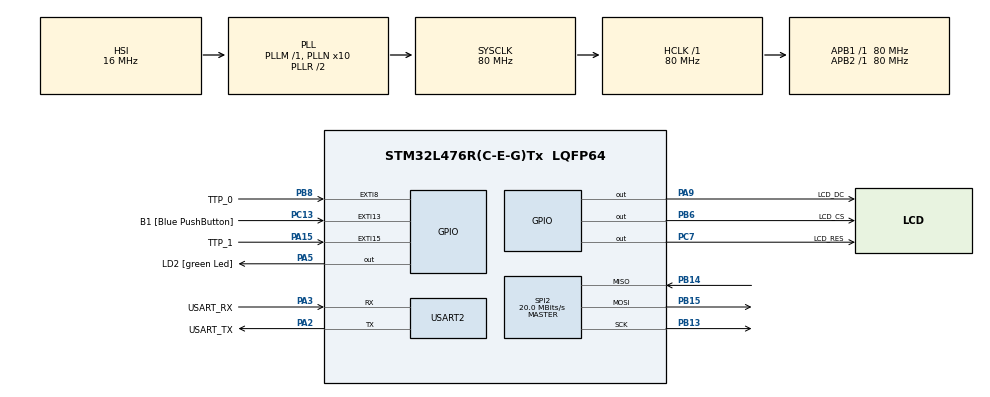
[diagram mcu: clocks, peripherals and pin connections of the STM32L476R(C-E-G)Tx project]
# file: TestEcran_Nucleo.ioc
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Mcu.Family=STM32L4
Mcu.Name=STM32L476R(C-E-G)Tx
Mcu.Package=LQFP64
NVIC.EXTI15_10_IRQn=true\:1\:0\:true\:false\:true\:true\:true\:true
NVIC.EXTI9_5_IRQn=true\:1\:0\:true\:false\:true\:true\:true\:true
NVIC.PriorityGroup=NVIC_PRIORITYGROUP_4
PA13\ (JTMS-SWDIO).GPIO_Label=TMS
PA13\ (JTMS-SWDIO).Mode=Serial_Wire
PA13\ (JTMS-SWDIO).Signal=SYS_JTMS-SWDIO
PA14\ (JTCK-SWCLK).GPIO_Label=TCK
PA14\ (JTCK-SWCLK).Mode=Serial_Wire
PA14\ (JTCK-SWCLK).Signal=SYS_JTCK-SWCLK
PA15\ (JTDI).GPIO_Label=TTP_1
PA15\ (JTDI).Signal=GPXTI15
PA2.GPIO_Label=USART_TX
PA2.GPIO_Mode=GPIO_MODE_AF_PP
PA2.GPIO_PuPd=GPIO_NOPULL
PA2.GPIO_Speed=GPIO_SPEED_FREQ_VERY_HIGH
PA2.Mode=Asynchronous
PA2.Signal=USART2_TX
PA3.GPIO_Label=USART_RX
PA3.GPIO_Mode=GPIO_MODE_AF_PP
PA3.GPIO_PuPd=GPIO_NOPULL
PA3.GPIO_Speed=GPIO_SPEED_FREQ_VERY_HIGH
PA3.Mode=Asynchronous
PA3.Signal=USART2_RX
PA5.GPIO_Label=LD2 [green Led]
PA5.GPIO_ModeDefaultOutputPP=GPIO_MODE_OUTPUT_PP
PA5.GPIO_PuPd=GPIO_NOPULL
PA5.GPIO_Speed=GPIO_SPEED_FREQ_LOW
PA5.Signal=GPIO_Output
PA9.GPIO_Label=LCD_DC
PA9.Signal=GPIO_Output
PB13.Mode=Full_Duplex_Master
PB13.Signal=SPI2_SCK
PB14.Mode=Full_Duplex_Master
PB14.Signal=SPI2_MISO
PB15.Mode=Full_Duplex_Master
PB15.Signal=SPI2_MOSI
PB3\ (JTDO-TRACESWO).GPIO_Label=SWO
PB3\ (JTDO-TRACESWO).Signal=SYS_JTDO-SWO
PB6.GPIO_Label=LCD_CS
PB6.Signal=GPIO_Output
PB8.GPIO_Label=TTP_0
PB8.Signal=GPXTI8
PC13.GPIO_Label=B1 [Blue PushButton]
PC13.GPIO_ModeDefaultEXTI=GPIO_MODE_IT_FALLING
PC13.GPIO_PuPd=GPIO_NOPULL
PC13.Signal=GPXTI13
PC14-OSC32_IN\ (PC14).Mode=LSE-External-Oscillator
PC14-OSC32_IN\ (PC14).Signal=RCC_OSC32_IN
PC15-OSC32_OUT\ (PC15).Mode=LSE-External-Oscillator
PC15-OSC32_OUT\ (PC15).Signal=RCC_OSC32_OUT
PC7.GPIO_Label=LCD_RES
PC7.Signal=GPIO_Output
PH0-OSC_IN\ (PH0).Signal=RCC_OSC_IN
PH1-OSC_OUT\ (PH1).Signal=RCC_OSC_OUT
ProjectManager.HeapSize=0x200
ProjectManager.StackSize=0x400
ProjectManager.TargetToolchain=STM32CubeIDE
RCC.ADCFreq_Value=64000000
RCC.AHBFreq_Value=80000000
RCC.APB1Freq_Value=80000000
RCC.APB1TimFreq_Value=80000000
RCC.APB2Freq_Value=80000000
RCC.APB2TimFreq_Value=80000000
RCC.CK48CLockSelection=RCC_USBCLKSOURCE_MSI
RCC.CortexFreq_Value=80000000
RCC.HCLKFreq_Value=80000000
RCC.HSE_VALUE=8000000
RCC.HSI_VALUE=16000000
RCC.MSIClockRange=RCC_MSIRANGE_11
RCC.MSI_VALUE=48000000
RCC.PLLN=10
RCC.PLLSAI1Q=RCC_PLLQ_DIV4
RCC.PLLSourceVirtual=RCC_PLLSOURCE_HSI
RCC.PREFETCH_ENABLE=1
RCC.SYSCLKFreq_VALUE=80000000
RCC.SYSCLKSource=RCC_SYSCLKSOURCE_PLLCLK
RCC.USBFreq_Value=48000000
RCC.VCOOutputFreq_Value=160000000
SPI2.BaudRatePrescaler=SPI_BAUDRATEPRESCALER_4
SPI2.CLKPhase=SPI_PHASE_1EDGE
SPI2.CalculateBaudRate=20.0 MBits/s
SPI2.DataSize=SPI_DATASIZE_8BIT
SPI2.Direction=SPI_DIRECTION_2LINES
SPI2.Mode=SPI_MODE_MASTER
SPI2.VirtualType=VM_MASTER
USART2.VirtualMode-Asynchronous=VM_ASYNC
VP_RNG_VS_RNG.Mode=RNG_Activate
board=NUCLEO-L476RG

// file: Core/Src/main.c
/* USER CODE BEGIN Header */
/**
  ******************************************************************************
  * @file           : main.c
  * @brief          : Main program body
  ******************************************************************************
  * @attention
  *
  * Copyright (c) 2026 STMicroelectronics.
  * All rights reserved.
  *
  * This software is licensed under terms that can be found in the LICENSE file
  * in the root directory of this software component.
  * If no LICENSE file comes with this software, it is provided AS-IS.
  *
  ******************************************************************************
  */
/* USER CODE END Header */
#include "main.h"

/* USER CODE BEGIN Includes */
#include "ili9341.h"
#include "fonts.h"
#include "myutils.h"
/* USER CODE END Includes */

RNG_HandleTypeDef hrng;

SPI_HandleTypeDef hspi2;

UART_HandleTypeDef huart2;

/* USER CODE BEGIN PV */
extern volatile uint8_t start_game_flag;
extern volatile uint8_t touche_TTP;
/* USER CODE END PV */

void SystemClock_Config(void);
static void MX_GPIO_Init(void);
static void MX_SPI2_Init(void);
static void MX_USART2_UART_Init(void);
static void MX_RNG_Init(void);

int main(void)
{

  /* MCU Configuration--------------------------------------------------------*/

  /* Reset of all peripherals, Initializes the Flash interface and the Systick. */
  HAL_Init();

  /* Configure the system clock */
  SystemClock_Config();

  /* Initialize all configured peripherals */
  MX_GPIO_Init();
  MX_SPI2_Init();
  MX_USART2_UART_Init();
  MX_RNG_Init();
  /* USER CODE BEGIN 2 */
  //ILI9341_Unselect(); // On s'assure que l'écran est libéré au départ
  ILI9341_Init(); // Allume l'écran et configure les registres
  ILI9341_FillScreen(ILI9341_RED); // Remplit l'écran en rouge pour vérifier que ça marche
  ILI9341_SetRotation(3);
  ILI9341_WriteString(10, 10, "Bienvenue sur la MOA ESCAPE BOX (MEB) !", Font_11x18, ILI9341_BLACK, ILI9341_WHITE);// Un petit message
  HAL_Delay(2000);

  //Début de l'histoire:
  start_story();
  /* USER CODE END 2 */

  /* Infinite loop */
  while (1)
  {

  }
}

void SystemClock_Config(void)
{
  RCC_OscInitTypeDef RCC_OscInitStruct = {0};
  RCC_ClkInitTypeDef RCC_ClkInitStruct = {0};

  /** Configure the main internal regulator output voltage
  */
  if (HAL_PWREx_ControlVoltageScaling(PWR_REGULATOR_VOLTAGE_SCALE1) != HAL_OK)
  {
    Error_Handler();
  }

  /** Configure LSE Drive Capability
  */
  HAL_PWR_EnableBkUpAccess();
  __HAL_RCC_LSEDRIVE_CONFIG(RCC_LSEDRIVE_LOW);

  /** Initializes the RCC Oscillators according to the specified parameters
  * in the RCC_OscInitTypeDef structure.
  */
  RCC_OscInitStruct.OscillatorType = RCC_OSCILLATORTYPE_HSI|RCC_OSCILLATORTYPE_LSE
                              |RCC_OSCILLATORTYPE_MSI;
  RCC_OscInitStruct.LSEState = RCC_LSE_ON;
  RCC_OscInitStruct.HSIState = RCC_HSI_ON;
  RCC_OscInitStruct.HSICalibrationValue = RCC_HSICALIBRATION_DEFAULT;
  RCC_OscInitStruct.MSIState = RCC_MSI_ON;
  RCC_OscInitStruct.MSICalibrationValue = 0;
  RCC_OscInitStruct.MSIClockRange = RCC_MSIRANGE_11;
  RCC_OscInitStruct.PLL.PLLState = RCC_PLL_ON;
  RCC_OscInitStruct.PLL.PLLSource = RCC_PLLSOURCE_HSI;
  RCC_OscInitStruct.PLL.PLLM = 1;
  RCC_OscInitStruct.PLL.PLLN = 10;
  RCC_OscInitStruct.PLL.PLLP = RCC_PLLP_DIV7;
  RCC_OscInitStruct.PLL.PLLQ = RCC_PLLQ_DIV2;
  RCC_OscInitStruct.PLL.PLLR = RCC_PLLR_DIV2;
  if (HAL_RCC_OscConfig(&RCC_OscInitStruct) != HAL_OK)
  {
    Error_Handler();
  }

  /** Initializes the CPU, AHB and APB buses clocks
  */
  RCC_ClkInitStruct.ClockType = RCC_CLOCKTYPE_HCLK|RCC_CLOCKTYPE_SYSCLK
                              |RCC_CLOCKTYPE_PCLK1|RCC_CLOCKTYPE_PCLK2;
  RCC_ClkInitStruct.SYSCLKSource = RCC_SYSCLKSOURCE_PLLCLK;
  RCC_ClkInitStruct.AHBCLKDivider = RCC_SYSCLK_DIV1;
  RCC_ClkInitStruct.APB1CLKDivider = RCC_HCLK_DIV1;
  RCC_ClkInitStruct.APB2CLKDivider = RCC_HCLK_DIV1;

  if (HAL_RCC_ClockConfig(&RCC_ClkInitStruct, FLASH_LATENCY_4) != HAL_OK)
  {
    Error_Handler();
  }

  /** Enable MSI Auto calibration
  */
  HAL_RCCEx_EnableMSIPLLMode();
}

static void MX_RNG_Init(void)
{

  hrng.Instance = RNG;
  if (HAL_RNG_Init(&hrng) != HAL_OK)
  {
    Error_Handler();
  }

}

static void MX_SPI2_Init(void)
{

  /* SPI2 parameter configuration*/
  hspi2.Instance = SPI2;
  hspi2.Init.Mode = SPI_MODE_MASTER;
  hspi2.Init.Direction = SPI_DIRECTION_2LINES;
  hspi2.Init.DataSize = SPI_DATASIZE_8BIT;
  hspi2.Init.CLKPolarity = SPI_POLARITY_LOW;
  hspi2.Init.CLKPhase = SPI_PHASE_1EDGE;
  hspi2.Init.NSS = SPI_NSS_SOFT;
  hspi2.Init.BaudRatePrescaler = SPI_BAUDRATEPRESCALER_4;
  hspi2.Init.FirstBit = SPI_FIRSTBIT_MSB;
  hspi2.Init.TIMode = SPI_TIMODE_DISABLE;
  hspi2.Init.CRCCalculation = SPI_CRCCALCULATION_DISABLE;
  hspi2.Init.CRCPolynomial = 7;
  hspi2.Init.CRCLength = SPI_CRC_LENGTH_DATASIZE;
  hspi2.Init.NSSPMode = SPI_NSS_PULSE_ENABLE;
  if (HAL_SPI_Init(&hspi2) != HAL_OK)
  {
    Error_Handler();
  }

}

static void MX_USART2_UART_Init(void)
{

  huart2.Instance = USART2;
  huart2.Init.BaudRate = 115200;
  huart2.Init.WordLength = UART_WORDLENGTH_8B;
  huart2.Init.StopBits = UART_STOPBITS_1;
  huart2.Init.Parity = UART_PARITY_NONE;
  huart2.Init.Mode = UART_MODE_TX_RX;
  huart2.Init.HwFlowCtl = UART_HWCONTROL_NONE;
  huart2.Init.OverSampling = UART_OVERSAMPLING_16;
  huart2.Init.OneBitSampling = UART_ONE_BIT_SAMPLE_DISABLE;
  huart2.AdvancedInit.AdvFeatureInit = UART_ADVFEATURE_NO_INIT;
  if (HAL_UART_Init(&huart2) != HAL_OK)
  {
    Error_Handler();
  }

}

static void MX_GPIO_Init(void)
{
  GPIO_InitTypeDef GPIO_InitStruct = {0};

  /* GPIO Ports Clock Enable */
  __HAL_RCC_GPIOC_CLK_ENABLE();
  __HAL_RCC_GPIOH_CLK_ENABLE();
  __HAL_RCC_GPIOA_CLK_ENABLE();
  __HAL_RCC_GPIOB_CLK_ENABLE();

  /*Configure GPIO pin Output Level */
  HAL_GPIO_WritePin(GPIOA, LD2_Pin|LCD_DC_Pin, GPIO_PIN_RESET);

  /*Configure GPIO pin Output Level */
  HAL_GPIO_WritePin(LCD_RES_GPIO_Port, LCD_RES_Pin, GPIO_PIN_RESET);

  /*Configure GPIO pin Output Level */
  HAL_GPIO_WritePin(LCD_CS_GPIO_Port, LCD_CS_Pin, GPIO_PIN_RESET);

  /*Configure GPIO pin : B1_Pin */
  GPIO_InitStruct.Pin = B1_Pin;
  GPIO_InitStruct.Mode = GPIO_MODE_IT_FALLING;
  GPIO_InitStruct.Pull = GPIO_NOPULL;
  HAL_GPIO_Init(B1_GPIO_Port, &GPIO_InitStruct);

  /*Configure GPIO pins : LD2_Pin LCD_DC_Pin */
  GPIO_InitStruct.Pin = LD2_Pin|LCD_DC_Pin;
  GPIO_InitStruct.Mode = GPIO_MODE_OUTPUT_PP;
  GPIO_InitStruct.Pull = GPIO_NOPULL;
  GPIO_InitStruct.Speed = GPIO_SPEED_FREQ_LOW;
  HAL_GPIO_Init(GPIOA, &GPIO_InitStruct);

  /*Configure GPIO pin : LCD_RES_Pin */
  GPIO_InitStruct.Pin = LCD_RES_Pin;
  GPIO_InitStruct.Mode = GPIO_MODE_OUTPUT_PP;
  GPIO_InitStruct.Pull = GPIO_NOPULL;
  GPIO_InitStruct.Speed = GPIO_SPEED_FREQ_LOW;
  HAL_GPIO_Init(LCD_RES_GPIO_Port, &GPIO_InitStruct);

  /*Configure GPIO pin : TTP_1_Pin */
  GPIO_InitStruct.Pin = TTP_1_Pin;
  GPIO_InitStruct.Mode = GPIO_MODE_IT_RISING;
  GPIO_InitStruct.Pull = GPIO_NOPULL;
  HAL_GPIO_Init(TTP_1_GPIO_Port, &GPIO_InitStruct);

  /*Configure GPIO pin : LCD_CS_Pin */
  GPIO_InitStruct.Pin = LCD_CS_Pin;
  GPIO_InitStruct.Mode = GPIO_MODE_OUTPUT_PP;
  GPIO_InitStruct.Pull = GPIO_NOPULL;
  GPIO_InitStruct.Speed = GPIO_SPEED_FREQ_LOW;
  HAL_GPIO_Init(LCD_CS_GPIO_Port, &GPIO_InitStruct);

  /*Configure GPIO pin : TTP_0_Pin */
  GPIO_InitStruct.Pin = TTP_0_Pin;
  GPIO_InitStruct.Mode = GPIO_MODE_IT_RISING;
  GPIO_InitStruct.Pull = GPIO_NOPULL;
  HAL_GPIO_Init(TTP_0_GPIO_Port, &GPIO_InitStruct);

  /* EXTI interrupt init*/
  HAL_NVIC_SetPriority(EXTI9_5_IRQn, 1, 0);
  HAL_NVIC_EnableIRQ(EXTI9_5_IRQn);

  HAL_NVIC_SetPriority(EXTI15_10_IRQn, 1, 0);
  HAL_NVIC_EnableIRQ(EXTI15_10_IRQn);

}

/* USER CODE BEGIN 4 */

void HAL_GPIO_EXTI_Callback(uint16_t GPIO_Pin)
{
    if(GPIO_Pin == B1_Pin) // On vérifie que c'est bien le bon bouton
    {
        // Ton code ici (ex: changer une variable d'état pour passer à l'étape suivante)
        // ATTENTION : Ne mets JAMAIS de HAL_Delay() ou de fonctions d'écriture LCD longues ici !

        static uint32_t last_interrupt_time = 0;
        uint32_t interrupt_time = HAL_GetTick();

        // Anti-rebond (Debounce) logiciel simple : 200ms
        if (interrupt_time - last_interrupt_time > 200)
        {
            // Action à faire, par exemple :
            start_game_flag = 1;
        }
        last_interrupt_time = interrupt_time;

    }
    if(GPIO_Pin == TTP_0_Pin){
    	 // Ton code ici (ex: changer une variable d'état pour passer à l'étape suivante)
    	        // ATTENTION : Ne mets JAMAIS de HAL_Delay() ou de fonctions d'écriture LCD longues ici !

    	        static uint32_t last_interrupt_time = 0;
    	        uint32_t interrupt_time = HAL_GetTick();

    	        // Anti-rebond (Debounce) logiciel simple : 200ms
    	        if (interrupt_time - last_interrupt_time > 200)
    	        {
    	            // Action à faire, par exemple :
    	            touche_TTP = 1;
    	        }
    	        last_interrupt_time = interrupt_time;
    }
    if(GPIO_Pin == TTP_1_Pin){
        	 // Ton code ici (ex: changer une variable d'état pour passer à l'étape suivante)
        	        // ATTENTION : Ne mets JAMAIS de HAL_Delay() ou de fonctions d'écriture LCD longues ici !

        	        static uint32_t last_interrupt_time = 0;
        	        uint32_t interrupt_time = HAL_GetTick();

        	        // Anti-rebond (Debounce) logiciel simple : 200ms
        	        if (interrupt_time - last_interrupt_time > 200)
        	        {
        	            // Action à faire, par exemple :
        	            touche_TTP = 2;
        	        }
        	        last_interrupt_time = interrupt_time;
        }

}

/* USER CODE END 4 */

void Error_Handler(void)
{
  __disable_irq();
  while (1)
  {
  }
}
